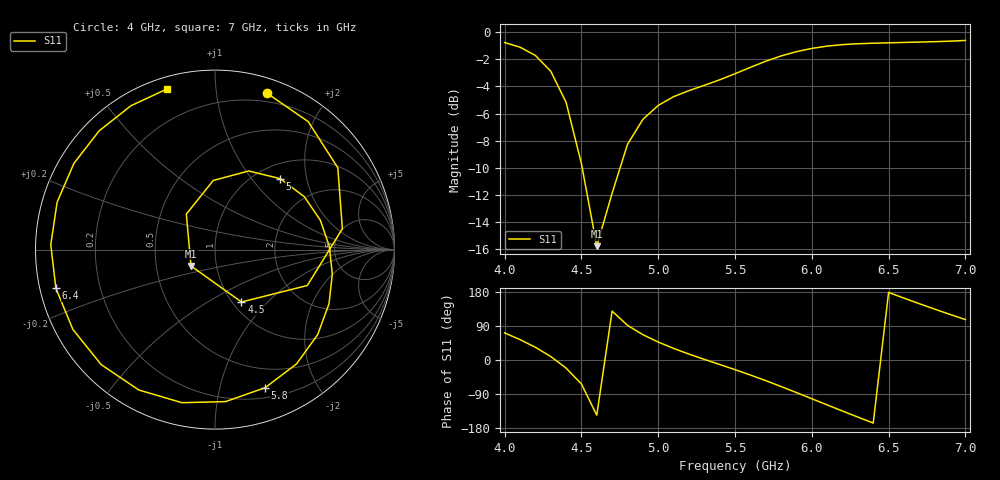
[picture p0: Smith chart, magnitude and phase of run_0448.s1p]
! Touchstone file exported from HFSS 2024.2.0
!  File:  C:/Users/wsak9/Desktop/Sim Fast/Widenad Patch/WP_AI_V1_sweep.aedt
!  Generated:  10:29:31 AM Oct 14, 2026
!  Design:  A1_model
!  Project:  WP_AI_V1_sweep
!  Setup:  Setup1
!  Solution:  Sweep
! Variables:
!  Air_gap = 4.2mm
!  Curve_Amp1 = 0.51
!  Curve_len1 = 1
!  Curve_pos = 12.265mm
!  Extra = 6.13mm
!  H_sub = 0.79mm
!  L_Patch = 20.53mm
!  L_Patch1 = 16.4mm
!  Sx = 3.92mm
!  Sy = 2.91mm
!  WS = 0.98mm
!  W_Patch = 18.98mm
!  W_Patch1 = 10.27mm
!Data is not renormalized
# GHz S MA
! Terminal data exported
! Port[1] = 1
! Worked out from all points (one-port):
!   31 points, 4 GHz to 7 GHz, reference per port
!   lowest |S11| = -15.8 dB at 4.6 GHz (marker M1), VSWR 1.39
!   |S11| at or under -10 dB: 4.505 GHz to 4.753 GHz (247.7 MHz wide, 5.35 % of centre)
!   S11 on the Smith chart (normalised r, x): 4 GHz: 0.13, +1.38; 4.5 GHz: 1.10, -0.72; 5 GHz: 1.27, +1.41; 5.8 GHz: 0.30, -1.39; 6.4 GHz: 0.05, -0.12; 7 GHz: 0.05, +0.74
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4  0.9175 71.4
4.1  0.8821 53.9
4.2  0.8222 33.7
4.3  0.7192 9.3
4.4  0.5518 -21.2
4.5  0.3272 -63.2
4.6  0.1618 -145.6
4.7  0.2542 129.0
4.8  0.3851 91.5
4.9  0.4765 66.8
5  0.537 47.4
5.2  0.6092 15.6
5.4  0.6677 -11.8
5.5  0.7033 -25.4
5.6  0.7426 -39.6
5.7  0.7823 -54.5
5.8  0.8185 -70.0
5.9  0.8489 -86.0
6  0.8727 -102.2
6.1  0.89 -118.5
6.2  0.9015 -134.7
6.3  0.9083 -150.7
6.4  0.9123 -166.4
6.5  0.9154 178.3
6.6  0.9184 163.3
6.7  0.9213 148.6
6.9  0.9283 120.3
7  0.9339 106.6
